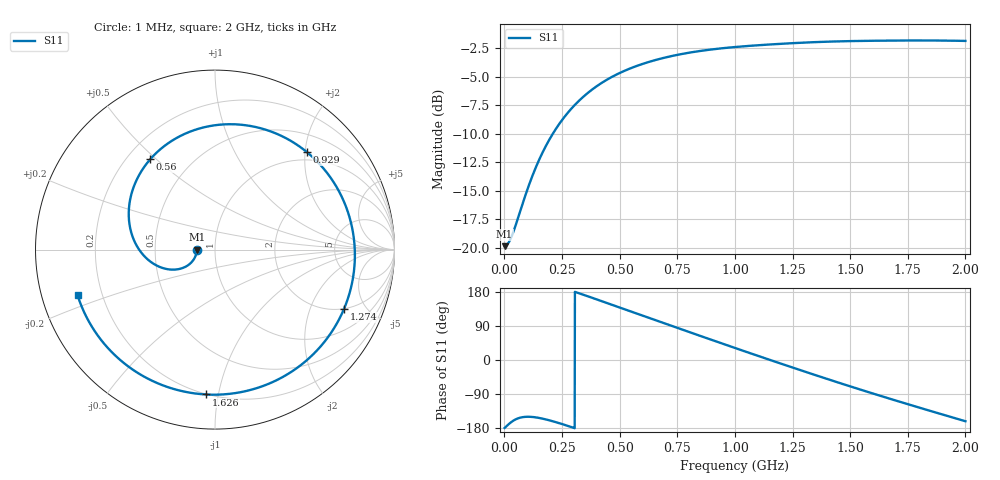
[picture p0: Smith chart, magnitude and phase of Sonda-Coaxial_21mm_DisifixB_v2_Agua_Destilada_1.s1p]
! TOUCHSTONE file generated by CST MICROWAVE STUDIO
! Date and time: Sun Aug  2 00:10:28 2026
! Project name: Sonda-Coaxial_21mm_DisifixB_v2_Agua_Destilada.cst
! Parameters = {h_recipiente=20; l_conector=50; r_arandela=35; r_ext=10.5; r_int=3; r_recipiente=100; z_recipiente=-10}
! Header version: 2018
! Port assignment regex: !\s*Touchstone port\s*([0-9]+)\s*=\s*(CST MWS port|CST DS port)\s*([0-9]+|Zmin|Zmax)\s*\(\"(.*)\"\)(\s*mode\s*([0-9]+))?.*
! Touchstone port assignment:
! Touchstone port 1 = CST MWS port 1 ("")
# GHz S RI R 50
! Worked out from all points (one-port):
!   2000 points, 1 MHz to 2 GHz, reference 50 ohm
!   lowest |S11| = -19.8 dB at 1 MHz (marker M1), VSWR 1.23, Z = 40.8 - j0.0867 ohm
!   |S11| at or under -10 dB: start of sweep to 209.9 MHz
!   S11 on the Smith chart (normalised r, x): 1 MHz: 0.82, -0.00; 560 MHz: 0.29, +0.48; 929 MHz: 0.83, +2.03; 1.274 GHz: 1.98, -3.51; 1.626 GHz: 0.20, -0.92; 2 GHz: 0.11, -0.16
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0.001  -0.1019 -0.00105
0.034  -0.1085 -0.0353
0.139  -0.2013 -0.1085
0.195  -0.2786 -0.1062
0.251  -0.3577 -0.0685
0.321  -0.438 0.0248
0.382  -0.4759 0.1375
0.442  -0.4755 0.2634
0.501  -0.4364 0.3887
0.56  -0.3606 0.5035
0.66  -0.1631 0.6472
0.751  0.0652 0.6983
0.838  0.2943 0.6641
0.929  0.5112 0.5439
1.001  0.6463 0.3976
1.065  0.7295 0.24
1.127  0.7723 0.0724
1.189  0.7762 -0.1008
1.251  0.7411 -0.2705
1.274  0.7186 -0.3308
1.394  0.5273 -0.602
1.501  0.2786 -0.7558
1.563  0.117 -0.7989
1.626  -0.0506 -0.8072
1.688  -0.2115 -0.7817
1.751  -0.3648 -0.7238
1.882  -0.6253 -0.5151
2  -0.7655 -0.255
